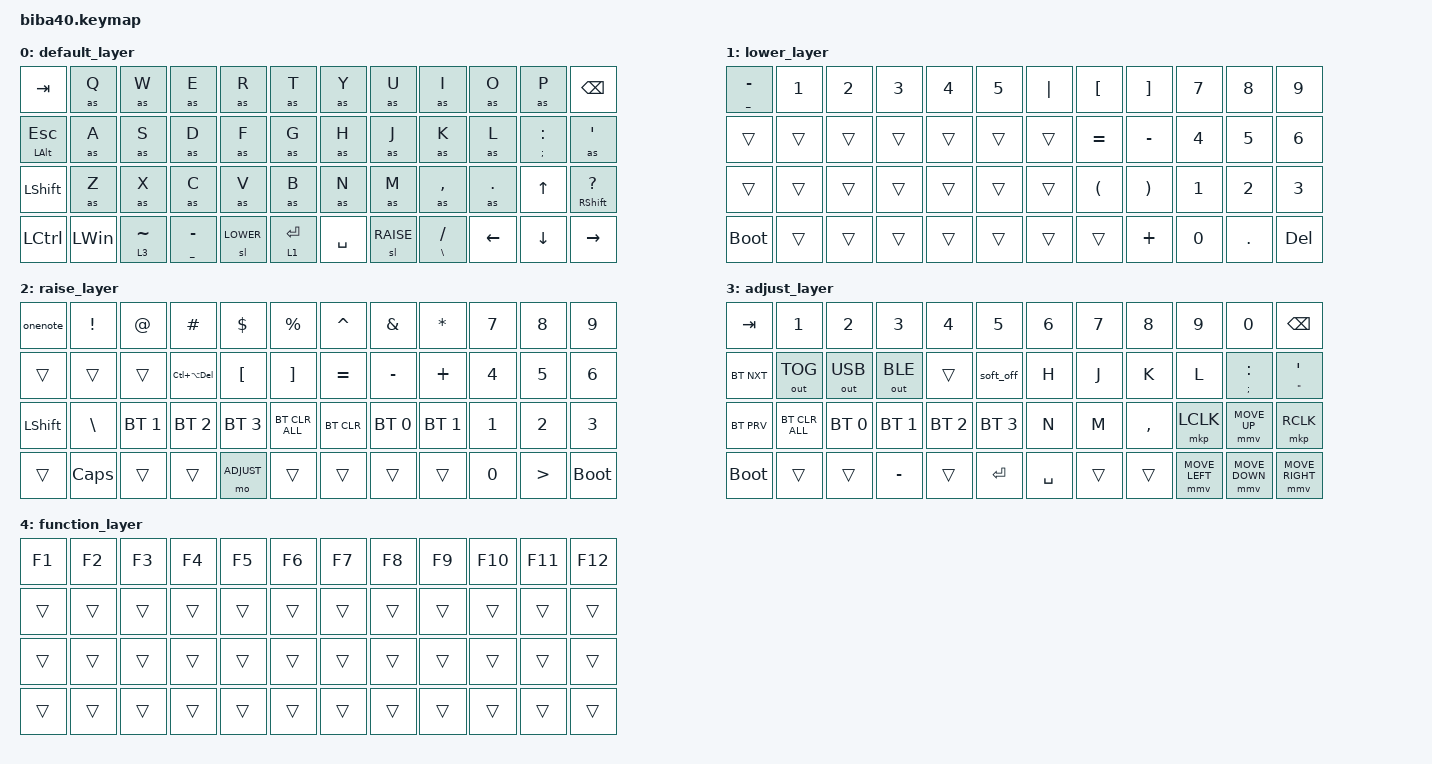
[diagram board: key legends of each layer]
/*
 * Copyright (c) 2020 The ZMK Contributors
 *
 * SPDX-License-Identifier: MIT
 */

#include <behaviors/mouse_keys.dtsi>
#include <behaviors.dtsi>
#include <dt-bindings/zmk/bt.h>
#include <dt-bindings/zmk/keys.h>
#include <dt-bindings/zmk/outputs.h>
#include <dt-bindings/zmk/pointing.h>

#define DEFAULT 0
#define LOWER  1
#define RAISE  2
#define ADJUST 3
#define FUNCTION 4

/* NOTE: At the time of the creation of thisxkeymap, there are no specified codes for 'eisuu' and 'kana' input in ZMK.
However, 'LANG1' and 'LANG2' are fully-functioning candidates for 'kana' and 'eisuu' input respectively.
As such, those are in use within the default layer at this time.*/

&soft_off {
    hold-time-ms = <3000>; // Only turn off it the key is held for 3 seconds or longer.
};

&mt { tapping-term-ms = <250>; };

/ {
    /* -------------------------
     * Auto Shift implementation
     * ------------------------- */

    behaviors {
        as_ht: autoshift_hold_tap {
            compatible = "zmk,behavior-hold-tap";
            label = "AUTOSHIFT_HOLD_TAP";
            #binding-cells = <2>;
            tapping-term-ms = <200>;
            flavor = "tap-preferred";
            bindings = <&shifted>, <&kp>;
        };
    };

    combos {
        compatible = "zmk,combos";

        ctrl-back {
            bindings = <&kp LC(BACKSPACE)>;
            key-positions = <10 11>;
            timeout-ms = <50>;
        };

        ctrl-delete {
            bindings = <&kp LC(DEL)>;
            key-positions = <9 10 11>;
            timeout-ms = <50>;
        };

        LeftWord {
            bindings = <&kp LC(LEFT_ARROW)>;
            key-positions = <46 45>;
            timeout-ms = <50>;
        };

        RightWord {
            bindings = <&kp LC(RIGHT)>;
            key-positions = <47 46>;
            timeout-ms = <50>;
        };

        Home {
            bindings = <&kp LC(HOME)>;
            key-positions = <33 34>;
            timeout-ms = <50>;
        };

        End {
            bindings = <&kp LC(END)>;
            key-positions = <34 35>;
            timeout-ms = <50>;
        };

        EraseLine {
            bindings = <&EraseLine>;
            key-positions = <34 46>;
            timeout-ms = <50>;
        };

        CtrlReturn {
            bindings = <&kp LC(RET)>;
            key-positions = <16 17>;
            timeout-ms = <50>;
        };

        Copy {
            bindings = <&kp LC(C)>;
            key-positions = <28 29>;
            timeout-ms = <50>;
        };

        Find {
            bindings = <&kp LC(F)>;
            key-positions = <18 19>;
            timeout-ms = <50>;
        };

        Paste {
            bindings = <&kp LC(V)>;
            key-positions = <30 31>;
            timeout-ms = <50>;
        };

        Minus {
            bindings = <&kp MINUS>;
            key-positions = <0 1>;
        };

        OpenObsid {
            bindings = <&kp LC(O)>;
            key-positions = <6 7>;
        };
    };

    macros {
        /* Auto-shift macros */

        shifted: macro_shifted_kp {
            compatible = "zmk,behavior-macro-one-param";
            label = "MACRO_SHIFTED_KP";
            #binding-cells = <1>;
            bindings =
                <&macro_press>,
                <&kp LSHFT &macro_param_1to1>,
                <&macro_tap>,
                <&kp MACRO_PLACEHOLDER>,
                <&macro_release>,
                <&kp LSHFT>;
        };

        as: autoshift {
            compatible = "zmk,behavior-macro-one-param";
            label = "AUTOSHIFT_KP";
            #binding-cells = <1>;
            bindings =
                <&macro_press>,
                <&macro_param_1to1 &macro_param_1to2 &as_ht MACRO_PLACEHOLDER MACRO_PLACEHOLDER>,
                <&macro_pause_for_release>,
                <&macro_release>,
                <&macro_param_1to1 &macro_param_1to2 &as_ht MACRO_PLACEHOLDER MACRO_PLACEHOLDER>;
        };

        onenote: onenote {
            compatible = "zmk,behavior-macro";
            #binding-cells = <0>;
            bindings = <&kp LC(K) &kp LC(V) &kp ENTER>;
            label = "ONENOTE";
        };

        EraseLine: EraseLine {
            compatible = "zmk,behavior-macro";
            #binding-cells = <0>;
            bindings = <&kp HOME &kp LS(END) &kp DELETE>;
            label = "ERASELINE";
        };
    };

    keymap {
        compatible = "zmk,keymap";

        default_layer {
            // ---------------------------------------------------------------------------------------------------------------------------------
            // |  ESC   |   Q    |   W    |   E    |   R    |   T    |                                      |   Y    |   U    |   I    |   O    |   P    |  BSPC  |
            // |  TAB  |   A    |   S    |   D    |   F    |   G    |                                      |   H    |   J    |   K    |   L    |   ;    |   "    |
            // |  SHIFT |   Z    |   X    |   C    |   V    |   B    |                                      |   N    |   M    |   ,    |   .    |   UP   |  ENTER |
            // | FUNC |  CTRL  |  LALT  |  LGUI  | LOWER  | SPACE  |                                      | SPACE  |  RAISE |  SLASH |  LEFT  |  DOWN  |  RIGHT |

            bindings = <
&kp TAB              &as Q         &as W        &as E            &as R      &as T         &as Y      &as U      &as I                &as O       &as P                &kp BSPC
&mt LEFT_ALT ESCAPE  &as A         &as S        &as D            &as F      &as G         &as H      &as J      &as K                &as L       &mt SEMICOLON COLON  &as SQT
&kp LSHFT            &as Z         &as X        &as C            &as V      &as B         &as N      &as M      &as COMMA            &as PERIOD  &kp UP               &mt RIGHT_SHIFT QUESTION
&kp LEFT_CONTROL     &kp LEFT_WIN  &lt 3 TILDE  &mt UNDER MINUS  &sl LOWER  &lt 1 RETURN  &kp SPACE  &sl RAISE  &mt BACKSLASH SLASH  &kp LEFT    &kp DOWN             &kp RIGHT
            >;
        };

        lower_layer {
            // ---------------------------------------------------------------------------------------------------------------------------------
            // |  `   |  1   |  2   |  3   |  4   |  5   |                                  |  6   |  7   |  8   |  9   |  0   | BSPC |
            // |      |      |      |      |      |      |                                  |      |  4   |  5   |  6   |  -   |   +  |
            // |      |      |      |      |      |      |                                  |      |  1   |  2   |  3   |VOL U | ENTER|
            // | BOOT |      |      |      |      |      |                                  |      |      |  0   |      |VOL D |      |

            bindings = <
&mt UNDERSCORE MINUS  &kp N1  &kp N2  &kp N3  &kp N4  &kp N5  &kp PIPE  &kp LEFT_BRACKET      &kp RIGHT_BRACKET      &kp N7        &kp N8        &kp N9
&trans                &trans  &trans  &trans  &trans  &trans  &trans    &kp EQUAL             &kp MINUS              &kp NUMBER_4  &kp N5        &kp NUMBER_6
&trans                &trans  &trans  &trans  &trans  &trans  &trans    &kp LEFT_PARENTHESIS  &kp RIGHT_PARENTHESIS  &kp NUMBER_1  &kp NUMBER_2  &kp NUMBER_3
&bootloader           &trans  &trans  &trans  &trans  &trans  &trans    &trans                &kp PLUS               &kp N0        &kp PERIOD    &kp DELETE
            >;
        };

        raise_layer {
            // ---------------------------------------------------------------------------------------------------------------------------------
            // |   ~   |   !   |   @   |   #   |   $   |   %   |                                    |   ^   |   &   |   *   |   (   |   )   |  DEL  |
            // |       |       |       |       |       |       |                                    |       |   -   |   =   |   [   |   ]   |   \   |
            // |       |       |       |       |       |       |                                    |       |       |       | LBKT  | RBKT  |       |
            // |       |       |       |       |       |       |                                    |       |       |       | LT    | GT    | BOOT  |

            bindings = <
&onenote   &kp EXCL  &kp AT        &kp HASH         &kp DOLLAR        &kp PRCNT          &kp CARET   &kp AMPS      &kp ASTERISK  &kp N7        &kp N8        &kp N9
&trans     &trans    &trans        &kp LC(LA(DEL))  &kp LEFT_BRACKET  &kp RIGHT_BRACKET  &kp EQUAL   &kp MINUS     &kp PLUS      &kp NUMBER_4  &kp NUMBER_5  &kp NUMBER_6
&kp LSHFT  &kp BSLH  &bt BT_SEL 1  &bt BT_SEL 2     &bt BT_SEL 3      &bt BT_CLR_ALL     &bt BT_CLR  &bt BT_SEL 0  &bt BT_SEL 1  &kp NUMBER_1  &kp NUMBER_2  &kp N3
&trans     &kp CAPS  &trans        &trans           &mo ADJUST        &trans             &trans      &trans        &trans        &kp NUMBER_0  &kp GT        &bootloader
            >;
        };

        adjust_layer {
            // ---------------------------------------------------------------------------------------------------------------------------------
            // |  BT CLR  | BT SEL0  | BT SEL1  | BT SEL2  | BGT SEL3 | BT SEL4  |                                          |          |          |          |          |          |          |
            // |  BT NXT  | OUT TOG  | OUT USB  | OUT BLE  |          |          |                                          |          |          |          |          |          |          |
            // |  BT PRV  |BT_CLR_ALL|          |          |          |          |                                          |          |          |          |          |          |          |
            // |          |          |          |          |          |          |                                          |          |          |          |          |          |          |

            bindings = <
&kp TAB      &kp N1          &kp N2        &kp N3        &kp NUMBER_4  &kp N5        &kp N6     &kp NUMBER_7  &kp N8     &kp N9          &kp N0               &kp BACKSPACE
&bt BT_NXT   &out OUT_TOG    &out OUT_USB  &out OUT_BLE  &trans        &soft_off     &kp H      &kp J         &kp K      &kp L           &mt SEMICOLON COLON  &mt DOUBLE_QUOTES SINGLE_QUOTE
&bt BT_PRV   &bt BT_CLR_ALL  &bt BT_SEL 0  &bt BT_SEL 1  &bt BT_SEL 2  &bt BT_SEL 3  &kp N      &kp M         &kp COMMA  &mkp LCLK       &mmv MOVE_UP         &mkp RCLK
&bootloader  &trans          &trans        &kp MINUS     &trans        &kp RET       &kp SPACE  &trans        &trans     &mmv MOVE_LEFT  &mmv MOVE_DOWN       &mmv MOVE_RIGHT
            >;
        };

        function_layer {
            // ---------------------------------------------------------------------------------------------------------------------------------
            // |  F1    |  F2   |  F3   |  F4   |  F5   |  F6   |                                      |  F7   |  F8   |  F9   |  F10  |  F11  |  F12  |
            // |        |       |       |       |       |       |                                      |       |       |       |       |       |       |
            // |        |       |       |       |       |       |                                      |       |       |       |       |       |       |
            // |        |       |       |       |       |       |                                      |       |       |       |       |       |       |

            bindings = <
&kp F1  &kp F2  &kp F3  &kp F4  &kp F5  &kp F6  &kp F7  &kp F8  &kp F9  &kp F10  &kp F11  &kp F12
&trans  &trans  &trans  &trans  &trans  &trans  &trans  &trans  &trans  &trans   &trans   &trans
&trans  &trans  &trans  &trans  &trans  &trans  &trans  &trans  &trans  &trans   &trans   &trans
&trans  &trans  &trans  &trans  &trans  &trans  &trans  &trans  &trans  &trans   &trans   &trans
            >;
        };
    };
};
